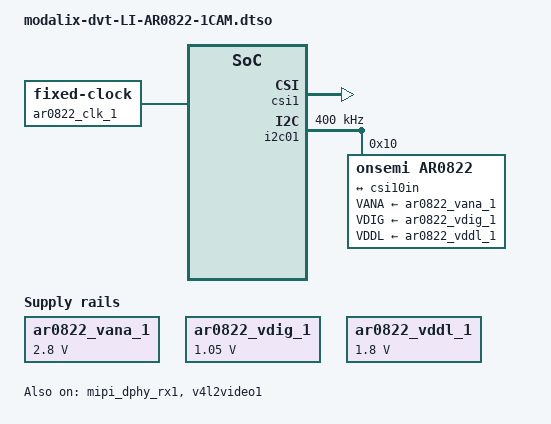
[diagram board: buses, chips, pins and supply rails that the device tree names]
// SPDX-License-Identifier: (GPL-2.0+ OR MIT)
/*
 * Copyright (c) 2026 SiMa ai
 *
 * LI-AR0822-MIPI-126H on DVT CAM1 (csi1), four lanes.
 *
 * The module is self-clocked from an on-board 27 MHz oscillator, so the
 * fixed-clock below is a software placeholder the driver only range-checks;
 * it never computes with it. Everything else the module needs - 3.3 V and its
 * enable - is supplied by the carrier, so there is no reset or power GPIO.
 */

/dts-v1/;
/plugin/;

&{/} {
    ar0822_vana_1: csi1_fixedregulator@0 {
        compatible = "regulator-fixed";
        regulator-name = "ar0822_vana_1";
        regulator-min-microvolt = <2800000>;
        regulator-max-microvolt = <2800000>;
        enable-active-high;
        startup-delay-us = <300000>;
        regulator-always-on;
    };
    ar0822_vdig_1: csi1_fixedregulator@1 {
        compatible = "regulator-fixed";
        regulator-name = "ar0822_vdig_1";
        regulator-min-microvolt = <1050000>;
        regulator-max-microvolt = <1050000>;
        regulator-always-on;
    };
    ar0822_vddl_1: csi1_fixedregulator@2 {
        compatible = "regulator-fixed";
        regulator-name = "ar0822_vddl_1";
        regulator-min-microvolt = <1800000>;
        regulator-max-microvolt = <1800000>;
        regulator-always-on;
    };
    ar0822_clk_1: csi1_camera-clk {
        compatible = "fixed-clock";
        #clock-cells = <0>;
        clock-frequency = <27000000>;
    };
};

&csi1 {
    status = "okay";
};

&axi_vdma1 {
    status = "okay";
};

&mipi_dphy_rx1 {
    status = "okay";
};

&v4l2video1 {
    status = "okay";
};

&v4l2vdma1 {
    status = "okay";
};

&csi10in {
    clock-lanes = <0>;
    data-lanes = <1 2 3 4>;
    link-frequencies = /bits/ 64 <492750000>;
    remote-endpoint = <&cam10out>;
    clock-continuous;
};

&i2c01 {
        status = "okay";
        clock-frequency = <400000>;
        #address-cells = <1>;
        #size-cells = <0>;

        ar0822: ar0822@10 {
                compatible = "onsemi,ar0822";
                reg = <0x10>;

                clocks = <&ar0822_clk_1>;
                clock-names = "xclk";

                rotation = <0>;
                orientation = <2>;


                VANA-supply = <&ar0822_vana_1>;
                VDIG-supply = <&ar0822_vdig_1>;
                VDDL-supply = <&ar0822_vddl_1>;

                port@1 {
                        cam10out: endpoint@0 {
                                clock-lanes = <0>;
                                data-lanes = <1 2 3 4>;
                                link-frequencies = /bits/ 64 <492750000>;
                                remote-endpoint = <&csi10in>;
                                clock-continuous;
                        };
                };
        };
};
